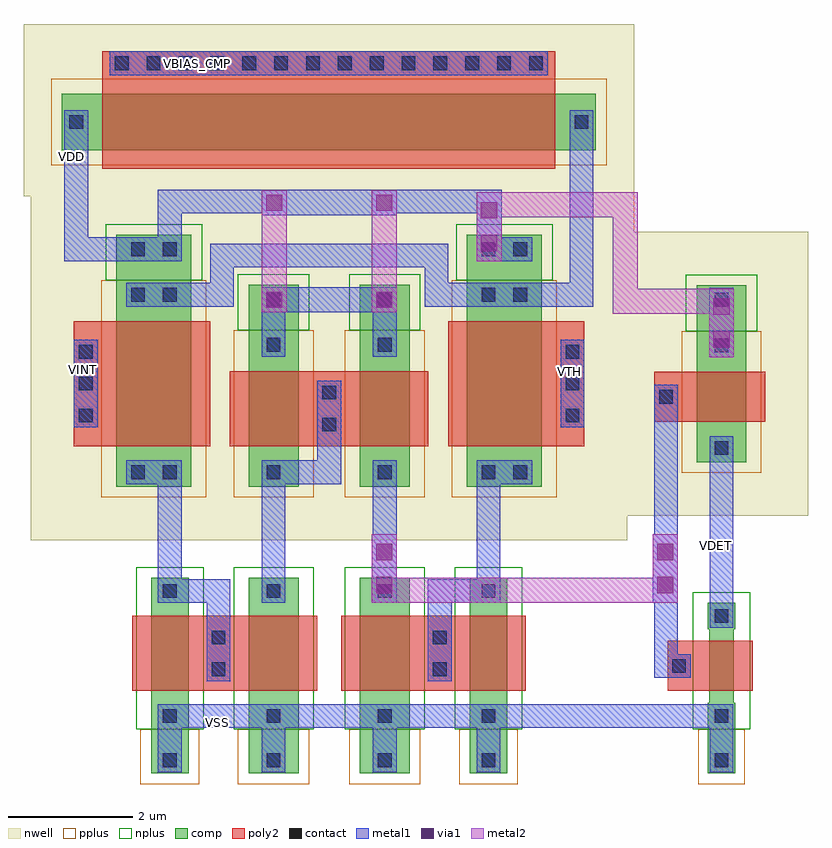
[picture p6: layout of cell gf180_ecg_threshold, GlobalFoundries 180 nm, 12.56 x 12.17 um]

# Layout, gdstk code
from math import pi, radians
import gdstk
lib = gdstk.Library(unit=1e-6, precision=1e-09)
def R(c, l, rs):  # rectangles x0, y0, x1, y1
    for r in rs: c.add(gdstk.rectangle(r[:2], r[2:], *l))
def A(c, l, x, y, w, h, nx, ny, dx, dy):  # array of equal rectangles
    R(c, l, [(x+i*dx, y+j*dy, x+i*dx+w, y+j*dy+h) for i in range(nx) for j in range(ny)])
def P(c, l, *ps):  # polygons
    for p in ps: c.add(gdstk.Polygon(p, *l))
nwell = (21, 0)
comp = (22, 0)
poly2 = (30, 0)
pplus = (31, 0)
nplus = (32, 0)
contact = (33, 0)
metal1 = (34, 0)
via1 = (35, 0)
metal2 = (36, 0)

nfet_10 = lib.new_cell('nfet$10')
P(nfet_10, comp, [(-0.42,-0.02),(-0.42,0.42),(0,0.42),(0,0.4),(1.18,0.4),(1.18,0.42),(2.31,0.42),(2.31,-0.02),(1.18,-0.02),(1.18,0),(0,0),(0,-0.02)])
R(nfet_10, poly2, [(0.19,-0.3,0.99,1.06)])
R(nfet_10, pplus, [(1.6,-0.17,2.48,0.57)])
R(nfet_10, nplus, [(-0.59,-0.26,1.6,0.66)])
R(nfet_10, contact, [(-0.32,0.09,-0.1,0.31), (1.28,0.09,1.5,0.31), (1.99,0.09,2.21,0.31), (0.48,0.77,0.7,0.99)])
R(nfet_10, metal1, [(-0.4,0.01,-0.02,0.39), (1.2,0.01,1.58,0.39), (1.91,0.01,2.29,0.39), (0.4,0.69,0.78,1.07)])

pfet_11 = lib.new_cell('pfet$11')
R(pfet_11, nwell, [(-1.32,-0.99,3.23,2.17)])
R(pfet_11, comp, [(-0.46,0,2.37,0.8)])
R(pfet_11, poly2, [(0.19,-0.3,0.99,1.48)])
R(pfet_11, pplus, [(-0.63,-0.24,1.64,1.04)])
R(pfet_11, nplus, [(1.64,-0.17,2.54,0.97)])
R(pfet_11, contact, [(-0.34,0.29,-0.12,0.51), (1.3,0.29,1.52,0.51), (2.03,0.29,2.25,0.51), (0.48,1.18,0.7,1.4)])
R(pfet_11, metal1, [(-0.42,0.21,-0.04,0.59), (1.22,0.21,1.6,0.59), (1.95,0.21,2.33,0.59), (0.4,1.1,0.78,1.48)])

pfet_2_1_3 = lib.new_cell('pfet$2$1$3')
R(pfet_2_1_3, nwell, [(-1.32,-0.99,3.63,2.17)])
R(pfet_2_1_3, comp, [(-0.46,0,2.77,0.8)])
R(pfet_2_1_3, poly2, [(0.19,-0.3,1.39,1.48)])
R(pfet_2_1_3, pplus, [(-0.63,-0.24,2.04,1.04)])
R(pfet_2_1_3, nplus, [(2.04,-0.17,2.94,0.97)])
R(pfet_2_1_3, contact, [(-0.34,0.29,-0.12,0.51), (1.7,0.29,1.92,0.51), (2.43,0.29,2.65,0.51), (0.425,1.18,0.645,1.4), (0.935,1.18,1.155,1.4)])
R(pfet_2_1_3, metal1, [(-0.42,0.21,-0.04,0.59), (1.62,0.21,2,0.59), (2.35,0.21,2.73,0.59), (0.345,1.1,1.235,1.48)])

nfet_2_1_2 = lib.new_cell('nfet$2$1$2')
R(nfet_2_1_2, comp, [(-0.42,0,2.71,0.8)])
R(nfet_2_1_2, poly2, [(0.19,-0.66,1.39,1.1)])
R(nfet_2_1_2, pplus, [(2,-0.17,2.88,0.97)])
R(nfet_2_1_2, nplus, [(-0.59,-0.24,2,1.04)])
R(nfet_2_1_2, contact, [(0.425,-0.59,0.645,-0.37), (0.935,-0.59,1.155,-0.37), (-0.32,0.29,-0.1,0.51), (1.68,0.29,1.9,0.51), (2.39,0.29,2.61,0.51)])
R(nfet_2_1_2, metal1, [(0.345,-0.67,1.235,-0.29), (-0.4,0.21,-0.02,0.59), (1.6,0.21,1.98,0.59), (2.31,0.21,2.69,0.59)])

nfet_4_2 = lib.new_cell('nfet$4$2')
R(nfet_4_2, comp, [(-0.42,0,2.71,0.6)])
R(nfet_4_2, poly2, [(0.19,-0.3,1.39,1.26)])
R(nfet_4_2, pplus, [(2,-0.17,2.88,0.77)])
R(nfet_4_2, nplus, [(-0.59,-0.24,2,0.84)])
R(nfet_4_2, contact, [(-0.32,0.19,-0.1,0.41), (1.68,0.19,1.9,0.41), (2.39,0.19,2.61,0.41), (0.425,0.97,0.645,1.19), (0.935,0.97,1.155,1.19)])
R(nfet_4_2, metal1, [(-0.4,0.11,-0.02,0.49), (1.6,0.11,1.98,0.49), (2.31,0.11,2.69,0.49), (0.345,0.89,1.235,1.27)])

pfet_4_2 = lib.new_cell('pfet$4$2')
R(pfet_4_2, nwell, [(-1.32,-0.99,4.43,2.57)])
R(pfet_4_2, comp, [(-0.46,0,3.57,1.2)])
R(pfet_4_2, poly2, [(0.19,-0.3,2.19,1.88)])
R(pfet_4_2, pplus, [(-0.63,-0.24,2.84,1.44)])
R(pfet_4_2, nplus, [(2.84,-0.17,3.74,1.37)])
A(pfet_4_2, contact, 0.57, 1.58, 0.22, 0.22, 3, 1, 0.51, 0)
R(pfet_4_2, contact, [(-0.34,0.235,-0.12,0.455), (2.5,0.235,2.72,0.455), (3.23,0.235,3.45,0.455), (-0.34,0.745,-0.12,0.965), (2.5,0.745,2.72,0.965), (3.23,0.745,3.45,0.965)])
R(pfet_4_2, metal1, [(-0.42,0.155,-0.04,1.045), (2.42,0.155,2.8,1.045), (3.15,0.155,3.53,1.045), (0.49,1.5,1.89,1.88)])

pfet_5_1_1 = lib.new_cell('pfet$5$1$1')
R(pfet_5_1_1, nwell, [(-1.07,-0.74,8.7,2.02)])
R(pfet_5_1_1, comp, [(-0.46,0,8.09,0.9)])
R(pfet_5_1_1, poly2, [(0.19,-0.3,7.44,1.58)])
R(pfet_5_1_1, pplus, [(-0.63,-0.24,8.26,1.14)])
A(pfet_5_1_1, contact, 0.39, 1.28, 0.22, 0.22, 14, 1, 0.51, 0)
R(pfet_5_1_1, contact, [(-0.34,0.34,-0.12,0.56), (7.75,0.34,7.97,0.56)])
R(pfet_5_1_1, metal1, [(-0.42,0.26,-0.04,0.64), (7.67,0.26,8.05,0.64), (0.31,1.2,7.32,1.58)])

via_dev_3_1 = lib.new_cell('via_dev$3$1')
R(via_dev_3_1, metal1, [(0,0,0.4,0.4)])
R(via_dev_3_1, via1, [(0.07,0.07,0.33,0.33)])
R(via_dev_3_1, metal2, [(0,0,0.4,0.4)])

gf180_9t_threshold = lib.new_cell('gf180_9T_threshold')
R(gf180_9t_threshold, nwell, [(5.325,4.79,7.755,5.345)])
R(gf180_9t_threshold, metal1, [(3.8,-3.49,4.18,-3.16), (5.46,-3.49,5.84,-3.16), (7.24,-3.49,7.62,-3.16), (8.9,-3.49,9.28,-3.16), (5.46,3.16,5.84,3.51), (7.24,3.16,7.62,3.51)])
gf180_9t_threshold.add(gdstk.FlexPath([(10.58,6.535),(10.58,3.77),(8.26,3.77),(8.26,4.4),(4.825,4.4),(4.825,3.77),(3.99,3.77)], 0.38, ends="flush", simple_path=True, layer=34, datatype=0))  # metal1
gf180_9t_threshold.add(gdstk.FlexPath([(2.49,4.5),(2.49,6.725)], 0.38, ends="flush", simple_path=True, layer=34, datatype=0))  # metal1
gf180_9t_threshold.add(gdstk.FlexPath([(3.48,4.5),(2.3,4.5)], 0.38, ends="flush", simple_path=True, layer=34, datatype=0))  # metal1
gf180_9t_threshold.add(gdstk.FlexPath([(9.09,4.5),(9.09,5.265),(4.04,5.265)], 0.38, ends="flush", simple_path=True, layer=34, datatype=0))  # metal1
gf180_9t_threshold.add(gdstk.FlexPath([(3.99,4.5),(3.99,5.455)], 0.38, ends="flush", simple_path=True, layer=34, datatype=0))  # metal1
gf180_9t_threshold.add(gdstk.FlexPath([(3.99,-0.97),(3.99,0.93)], 0.38, ends="flush", simple_path=True, layer=34, datatype=0))  # metal1
gf180_9t_threshold.add(gdstk.FlexPath([(4.77,-1.715),(4.77,-0.97),(3.99,-0.97)], 0.38, ends="flush", simple_path=True, layer=34, datatype=0))  # metal1
gf180_9t_threshold.add(gdstk.FlexPath([(5.65,-0.97),(5.65,0.931)], 0.38, ends="flush", simple_path=True, layer=34, datatype=0))  # metal1
gf180_9t_threshold.add(gdstk.FlexPath([(6.54,1.695),(6.54,0.93),(5.65,0.93)], 0.38, ends="flush", simple_path=True, layer=34, datatype=0))  # metal1
gf180_9t_threshold.add(gdstk.FlexPath([(9.09,-0.97),(9.09,0.93)], 0.38, ends="flush", simple_path=True, layer=34, datatype=0))  # metal1
gf180_9t_threshold.add(gdstk.FlexPath([(8.31,-1.715),(8.31,-0.97),(9.09,-0.97)], 0.38, ends="flush", simple_path=True, layer=34, datatype=0))  # metal1
gf180_9t_threshold.add(gdstk.FlexPath([(7.43,-0.97),(7.43,0.931)], 0.38, ends="flush", simple_path=True, layer=34, datatype=0))  # metal1
gf180_9t_threshold.add(gdstk.FlexPath([(7.421,3.69),(5.632,3.69)], 0.4, ends="flush", simple_path=True, layer=34, datatype=0))  # metal1
gf180_9t_threshold.add(gdstk.FlexPath([(5.664,5.245),(7.421,5.245)], 0.4, ends="flush", simple_path=True, layer=34, datatype=0))  # metal1
gf180_9t_threshold.add(gdstk.FlexPath([(3.99,-2.97),(9.09,-2.97)], 0.38, ends="flush", simple_path=True, layer=34, datatype=0))  # metal1
gf180_9t_threshold.add(gdstk.FlexPath([(5.66,5.249),(5.66,3.65)], 0.4, ends="flush", simple_path=True, layer=36, datatype=0))  # metal2
gf180_9t_threshold.add(gdstk.FlexPath([(7.42,5.249),(7.42,3.69)], 0.4, ends="flush", simple_path=True, layer=36, datatype=0))  # metal2
gf180_9t_threshold.add(gdstk.Reference(pfet_2_1_3, (5.25,1.16), rotation=pi/2, x_reflection=True))
gf180_9t_threshold.add(gdstk.Reference(nfet_2_1_2, (5.25,-1.18), rotation=3*pi/2))
gf180_9t_threshold.add(gdstk.Reference(nfet_4_2, (3.69,-1.18), rotation=3*pi/2))
gf180_9t_threshold.add(gdstk.Reference(pfet_2_1_3, (7.83,1.16), rotation=pi/2))
gf180_9t_threshold.add(gdstk.Reference(nfet_2_1_2, (7.83,-1.18), rotation=3*pi/2, x_reflection=True))
gf180_9t_threshold.add(gdstk.Reference(pfet_4_2, (8.745,1.16), rotation=pi/2, x_reflection=True))
gf180_9t_threshold.add(gdstk.Reference(nfet_4_2, (9.39,-1.18), rotation=3*pi/2, x_reflection=True))
gf180_9t_threshold.add(gdstk.Reference(pfet_5_1_1, (10.35,6.085), rotation=pi, x_reflection=True))
gf180_9t_threshold.add(gdstk.Reference(via_dev_3_1, (5.46,3.49)))
gf180_9t_threshold.add(gdstk.Reference(via_dev_3_1, (7.22,3.49)))
gf180_9t_threshold.add(gdstk.Reference(via_dev_3_1, (5.46,5.045)))
gf180_9t_threshold.add(gdstk.Reference(via_dev_3_1, (7.22,5.045)))
gf180_9t_threshold.add(gdstk.Reference(pfet_4_2, (4.335,1.16), rotation=pi/2))
gf180_9t_threshold.add(gdstk.Label('VDD', (2.436,6.451), layer=34, texttype=10))
gf180_9t_threshold.add(gdstk.Label('VBIAS', (6.115,7.44), layer=34, texttype=10))
gf180_9t_threshold.add(gdstk.Label('VINP', (2.568,2.06), layer=34, texttype=10))
gf180_9t_threshold.add(gdstk.Label('VINN', (10.342,2.09), layer=34, texttype=10))
gf180_9t_threshold.add(gdstk.Label('VOUT', (7.359,-0.412), layer=34, texttype=10))
gf180_9t_threshold.add(gdstk.Label('VSS', (5.615,-3.39), layer=34, texttype=10))

via_dev_41 = lib.new_cell('via_dev$41')
R(via_dev_41, metal1, [(0,0,0.4,1.1)])
R(via_dev_41, via1, [(0.07,0.155,0.33,0.415), (0.07,0.685,0.33,0.945)])
R(via_dev_41, metal2, [(0,0,0.4,1.1)])

gf180_ecg_threshold = lib.new_cell('gf180_ecg_threshold')
R(gf180_ecg_threshold, nwell, [(11.315,4.78,11.42,5.345)])
R(gf180_ecg_threshold, metal1, [(9.28,5.41,9.3,5.455)])
gf180_ecg_threshold.add(gdstk.FlexPath([(9.09,-2.97),(12.82,-2.97),(12.82,-3.64)], 0.38, ends="flush", simple_path=True, layer=34, datatype=0))  # metal1
gf180_ecg_threshold.add(gdstk.FlexPath([(12.82,1.32),(12.82,-1.38)], 0.38, ends="flush", simple_path=True, layer=34, datatype=0))  # metal1
gf180_ecg_threshold.add(gdstk.FlexPath([(11.93,2.14),(11.93,-2.36)], 0.38, ends="flush", simple_path=True, layer=34, datatype=0))  # metal1
gf180_ecg_threshold.add(gdstk.FlexPath([(9.09,5.21),(11.28,5.21),(11.28,3.67),(12.93,3.67)], 0.4, ends="flush", simple_path=True, layer=36, datatype=0))  # metal2
gf180_ecg_threshold.add(gdstk.FlexPath([(11.93,-0.96),(7.43,-0.96)], 0.4, ends="flush", simple_path=True, layer=36, datatype=0))  # metal2
gf180_ecg_threshold.add(gdstk.Reference(nfet_10, (13.02,-1.58), rotation=3*pi/2, x_reflection=True))
gf180_ecg_threshold.add(gdstk.Reference(pfet_11, (13.22,1.55), rotation=pi/2))
gf180_ecg_threshold.add(gdstk.Reference(gf180_9t_threshold, (0,0)))
gf180_ecg_threshold.add(gdstk.Reference(via_dev_41, (12.62,2.77)))
gf180_ecg_threshold.add(gdstk.Reference(via_dev_41, (8.9,4.31)))
gf180_ecg_threshold.add(gdstk.Reference(via_dev_41, (7.22,-1.16)))
gf180_ecg_threshold.add(gdstk.Reference(via_dev_41, (11.72,-1.16)))
gf180_ecg_threshold.add(gdstk.Label('VDD', (2.42,5.99), layer=34, texttype=10))
gf180_ecg_threshold.add(gdstk.Label('VSS', (4.76,-3.08), layer=34, texttype=10))
gf180_ecg_threshold.add(gdstk.Label('VINT', (2.59,2.57), layer=34, texttype=10))
gf180_ecg_threshold.add(gdstk.Label('VTH', (10.38,2.54), layer=34, texttype=10))
gf180_ecg_threshold.add(gdstk.Label('VBIAS_CMP', (4.44,7.48), layer=34, texttype=10))
gf180_ecg_threshold.add(gdstk.Label('VDET', (12.72,-0.25), layer=34, texttype=10))

lib.write_gds('gf180_ecg_threshold.gds')
